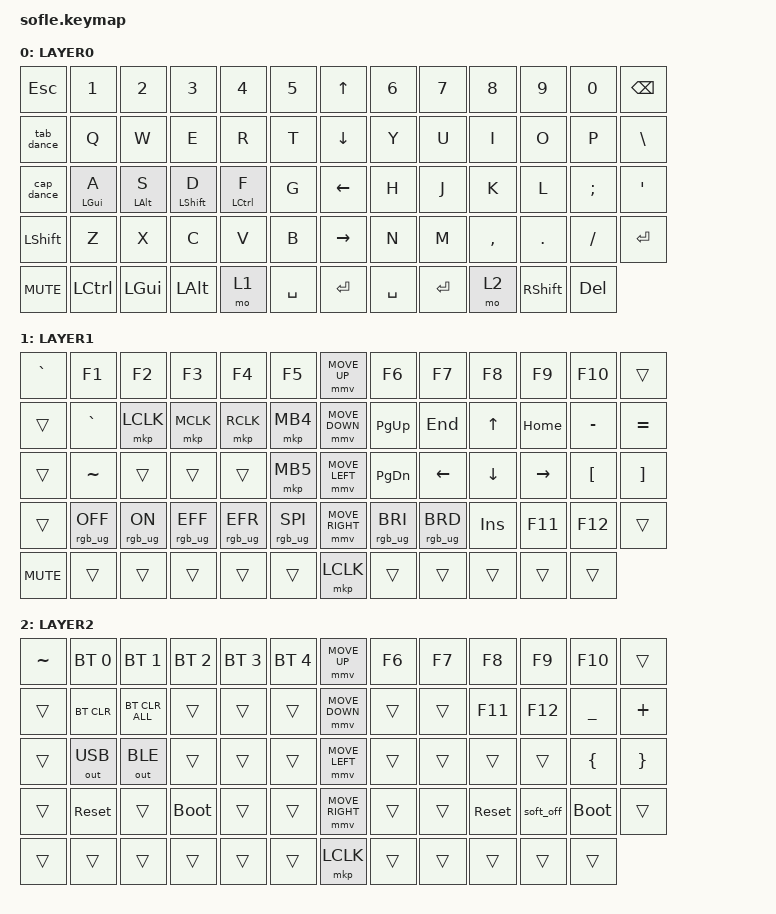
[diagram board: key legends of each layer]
#include <behaviors/mouse_keys.dtsi>
#include <behaviors.dtsi>
#include <dt-bindings/zmk/bt.h>
#include <dt-bindings/zmk/keys.h>
#include <dt-bindings/zmk/mouse.h>
#include <dt-bindings/zmk/outputs.h>
#include <dt-bindings/zmk/rgb.h>

// ########################################

// ####################
// ---- Global settings
// ####################

#define TAP_DANCE_MS 200
#define QUICK_TAP_MS 175

// ########################################

// ####################
// ---- Layers 
// ####################

#define MACOS 0
#define WINOS 1
#define SYMBOLS 2
#define CURSOR 3
#define DEVICE 4
#define NUM 5
#define DEV 6

// ########################################

// #####################
// ---- Pre-requisite 01
// #####################

// --------------------
// `zmk-helpers` add-on
// --------------------

/*Include the fundamental `#define` for `tool-helper` with `HRM-combo hack`.*/

#include "tool-helper.h"

// -----------------
// `mouse` emulation
// -----------------

/* Include modules essential to define `behaviors`. */

#include "module-mouse.dtsi"  // must be after `#include <behaviors/mouse_keys.dtsi>`

// ---------------
// Keyboard layout
// ---------------

#include "sofle.h"

#define KEYS_L LN0 LN1 LN2 LN3 LN4 LN5 \
               LT0 LT1 LT2 LT3 LT4 LT5 \
               LM0 LM1 LM2 LM3 LM4 LM5 \
               LB0 LB1 LB2 LB3 LB4 LB5

#define KEYS_R RN0 RN1 RN2 RN3 RN4 RN5 \
               RT0 RT1 RT2 RT3 RT4 RT5 \
               RM0 RM1 RM2 RM3 RM4 RM5 \
               RB0 RB1 RB2 RB3 RB4 RB5

#define THUMBS_L LH0 LH1 LH2 LH3 LH4
#define THUMBS_R RH0 RH1 RH2 RH3 RH4
#define THUMBS LH0 LH1 LH2 LH3 LH4 RH0 RH1 RH2 RH3 RH4

#define ENC_R REC REU RED REL RER
#define ENC_L LEC


// ##############################

// ####################
// ---- HOME ROW MOD
// ####################


#define MAKE_HRM(NAME, HOLD, TAP, TRIGGER_POS) \
    ZMK_HOLD_TAP(NAME, \
        flavor = "balanced"; \
        tapping-term-ms = <280>; \
        quick-tap-ms = <QUICK_TAP_MS>; \
        require-prior-idle-ms = <150>; \
        bindings = <HOLD>, <TAP>; \
        hold-trigger-key-positions = <TRIGGER_POS>; \
        hold-trigger-on-release; \
    )
MAKE_HRM(hml, &kp, &kp, KEYS_R THUMBS)  // left-hand HRMs
MAKE_HRM(hmr, &kp, &kp, KEYS_L THUMBS)  // right-hand HRMs

// HRM combo hack - workaround for lack of tap-only combos (ZMK issue #544)
#define ZMK_COMBO_8(NAME, TAP, KEYPOS, LAYERS, COMBO_TERM, COMBO_IDLE, HOLD, SIDE) \
    MAKE_HRM(hm_combo_ ## NAME, &kp, TAP, SIDE THUMBS) \
    ZMK_COMBO_6(NAME, &hm_combo_ ## NAME HOLD 0, KEYPOS, LAYERS, COMBO_TERM, COMBO_IDLE)


// ##############################

// ####################
// ---- HOLD TAP
// ####################

// tap: tab | double-tap: tab | hold: `Cursor` Layer

ZMK_HOLD_TAP(lt_hold, 
    flavor = "hold-preferred"; 
    tapping-term-ms = <TAP_DANCE_MS>; 
    quick-tap-ms = <QUICK_TAP_MS>; 
    bindings = <&mo>, <&kp>; 
    )

ZMK_TAP_DANCE(tab_dance, 
    tapping-term-ms = <TAP_DANCE_MS>; 
    bindings = <&lt_hold 1 TAB>, <&mo 2>; 
)

# define TAB_0 &tab_dance

// tap: Capslock | double-tap: Media Layer | hold: LCTRL

#define CAP_CTRL &cap_dance

ZMK_HOLD_TAP(ht_hold, 
    flavor = "hold-preferred"; 
    tapping-term-ms = <TAP_DANCE_MS>; 
    quick-tap-ms = <QUICK_TAP_MS>; 
    bindings = <&kp>, <&kp>; 
    )

ZMK_TAP_DANCE(cap_dance, 
    tapping-term-ms = <TAP_DANCE_MS>; 
    bindings = <&ht_hold LCTRL CAPS>, <&mo NUM> ;
    )

// ##############################

// ##########################
// ---- Traditional behaviors
// ##########################

/ {
    behaviors {
        mmv {
            acceleration-exponent = <1>;      // 1
            time-to-max-speed-ms = <900>;    // 40
            delay-ms = <0>;                   // 0
        };

        msc {
            acceleration-exponent = <1>;      // 0
            time-to-max-speed-ms = <400>;      // 500
            delay-ms = <0>;                   //   10
        };
    };

    scroll_encoder: scroll_encoder {
        compatible = "zmk,behavior-sensor-rotate";
        #sensor-binding-cells = <0>;
        bindings = <&msc SCRL_DOWN>, <&msc SCRL_UP>;

        tap-ms = <30>;
    };

};


// ##############################

// ####################
// ---- Keyboard Layers
// ####################

ZMK_LAYER(
LAYER0,
&kp ESC     &kp N1     &kp N2        &kp N3        &kp N4  &kp N5       &kp UP_ARROW     &kp N6     &kp N7     &kp N8     &kp N9           &kp N0      &kp BACKSPACE
TAB_0       &kp Q      &kp W         &kp E         &kp R   &kp T        &kp DOWN_ARROW   &kp Y      &kp U      &kp I      &kp O            &kp P       &kp BSLH
CAP_CTRL    &hml LGUI A  &hml LALT S         &hml LSHFT D         &hml LCTRL F   &kp G        &kp LEFT_ARROW   &kp H      &kp J      &kp K      &kp L            &kp SEMI    &kp APOS
&kp LSHFT   &kp Z      &kp X         &kp C         &kp V   &kp B        &kp RIGHT_ARROW  &kp N      &kp M      &kp COMMA  &kp DOT          &kp FSLH    &kp ENTER
&kp C_MUTE  &kp LCTRL  &kp LEFT_GUI  &kp LEFT_ALT  &mo 1   &kp SPACE    &kp ENTER        &kp SPACE  &kp ENTER  &mo 2      &kp RIGHT_SHIFT  &kp DELETE,
&inc_dec_kp C_VOLUME_UP C_VOL_DN
    )

ZMK_LAYER(
LAYER1,
&kp GRAVE   &kp F1           &kp F2          &kp F3           &kp F4           &kp F5             &mmv MOVE_UP     &kp F6           &kp F7           &kp F8      &kp F9     &kp F10           &trans
&trans      &kp GRAVE        &mkp LCLK       &mkp MCLK        &mkp RCLK        &mkp MB4           &mmv MOVE_DOWN   &kp PG_UP        &kp END          &kp UP      &kp HOME   &kp MINUS         &kp EQUAL
&trans      &kp TILDE        &trans          &trans           &trans           &mkp MB5           &mmv MOVE_LEFT   &kp PG_DN        &kp LEFT         &kp DOWN    &kp RIGHT  &kp LEFT_BRACKET  &kp RIGHT_BRACKET
&trans      &rgb_ug RGB_OFF  &rgb_ug RGB_ON  &rgb_ug RGB_EFF  &rgb_ug RGB_EFR  &rgb_ug RGB_SPI    &mmv MOVE_RIGHT  &rgb_ug RGB_BRI  &rgb_ug RGB_BRD  &kp INSERT  &kp F11    &kp F12           &trans
&kp C_MUTE  &trans           &trans          &trans           &trans           &trans             &mkp LCLK        &trans           &trans           &trans      &trans     &trans,
&scroll_encoder
    )

ZMK_LAYER(
LAYER2,
&kp TILDE  &bt BT_SEL 0  &bt BT_SEL 1    &bt BT_SEL 2  &bt BT_SEL 3  &bt BT_SEL 4    &mmv MOVE_UP     &kp F6  &kp F7  &kp F8      &kp F9     &kp F10      &trans
&trans     &bt BT_CLR    &bt BT_CLR_ALL  &trans        &trans        &trans          &mmv MOVE_DOWN   &trans  &trans  &kp F11     &kp F12    &kp UNDER    &kp PLUS
&trans     &out OUT_USB  &out OUT_BLE    &trans        &trans        &trans          &mmv MOVE_LEFT   &trans  &trans  &trans      &trans     &kp LBRC     &kp RBRC
&trans     &sys_reset    &trans          &bootloader   &trans        &trans          &mmv MOVE_RIGHT  &trans  &trans  &sys_reset  &soft_off  &bootloader  &trans
&trans     &trans        &trans          &trans        &trans        &trans          &mkp LCLK        &trans  &trans  &trans      &trans     &trans,
&scroll_encoder
    )

